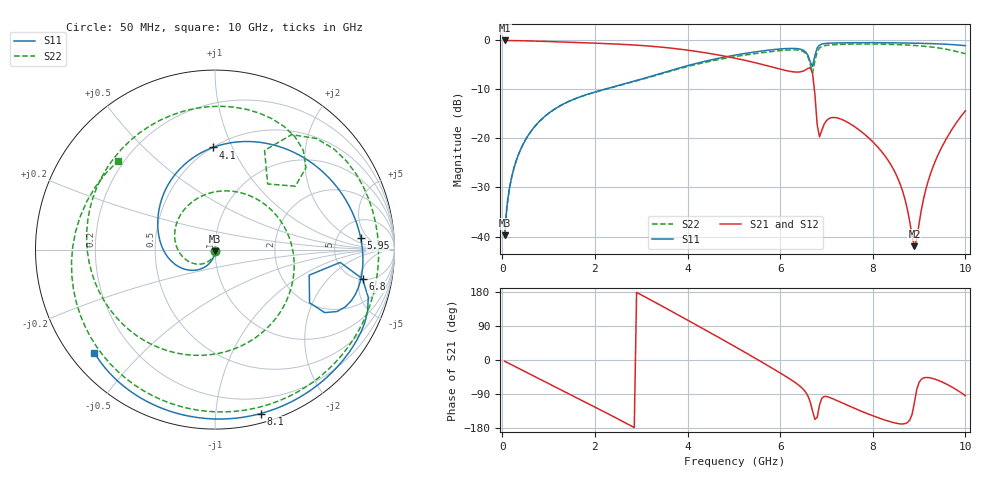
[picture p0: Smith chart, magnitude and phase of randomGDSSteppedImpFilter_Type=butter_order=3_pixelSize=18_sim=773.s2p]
! freq	dB(S11)	phase(S11)	dB(S12)	phase(S12)
!  dB(S21)	phase(S21)	dB(S22)	phase(S22)
!S-par simulation data
#  GHz  S  DB  R 50
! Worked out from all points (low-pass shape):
!   200 points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, 50 MHz to 10 GHz, reference 50 ohm
!   highest |S21| = -0.01 dB at 50 MHz (marker M1); lowest = -42.0 dB at 8.9 GHz (marker M2)
!   |S21| within 3 dB of the highest: start of sweep to 4.688 GHz
!   lowest |S11| = -39.8 dB at 50 MHz (marker M3), VSWR 1.02, Z = 49.9 - j1.02 ohm
!   |S11| at or under -10 dB: start of sweep to 2.199 GHz
!   |S22| runs from -39.8 to -0.7 dB; largest |S21 - S12| = 0
!   S11 on the Smith chart (normalised r, x): 50 MHz: 1.00, -0.02; 4.1 GHz: 0.50, +0.84; 5.95 GHz: 8.52, +3.24; 6.8 GHz: 5.11, -5.60; 8.1 GHz: 0.07, -1.31; 10 GHz: 0.07, -0.37
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0.05  -39.79 -92.4  -0.01 -3.2  -0.01 -3.2  -39.79 -93.5
0.2  -27.98 -100.4  -0.03 -12.6  -0.03 -12.6  -27.99 -105.0
0.5  -20.28 -115.9  -0.08 -31.2  -0.08 -31.2  -20.30 -127.6
1.15  -13.88 -147.5  -0.27 -71.5  -0.27 -71.5  -13.90 -176.9
1.75  -11.27 -173.7  -0.47 -108.5  -0.47 -108.5  -11.30 135.1
2.6  -8.97 153.6  -0.80 -162.1  -0.80 -162.1  -9.04 60.8
3.4  -6.78 122.4  -1.34 145.5  -1.34 145.5  -6.90 -12.4
4.1  -4.90 91.2  -2.11 98.6  -2.11 98.6  -5.09 -75.0
4.6  -3.78 67.5  -2.86 64.6  -2.86 64.6  -4.03 -119.2
5.05  -2.96 46.2  -3.67 33.6  -3.67 33.6  -3.26 -160.0
5.5  -2.29 25.2  -4.63 1.9  -4.63 1.9  -2.63 157.4
5.95  -1.78 4.5  -5.74 -30.5  -5.74 -30.5  -2.12 113.0
6.55  -2.35 -26.9  -6.01 -84.7  -6.01 -84.7  -2.61 48.4
6.7  -5.29 -15.2  -6.71 -135.0  -6.71 -135.0  -6.58 51.2
6.8  -1.53 -11.2  -17.22 -151.4  -17.22 -151.4  -2.27 56.3
7.3  -0.50 -44.2  -16.00 -111.2  -16.00 -111.2  -0.81 0.9
8.1  -0.46 -74.4  -21.67 -151.6  -21.67 -151.6  -0.75 -56.8
8.35  -0.48 -83.0  -24.74 -161.9  -24.74 -161.9  -0.79 -73.1
8.9  -0.56 -101.4  -41.97 -111.7  -41.97 -111.7  -1.03 -109.8
9.2  -0.63 -111.4  -28.57 -46.4  -28.57 -46.4  -1.27 -132.4
9.55  -0.76 -123.3  -20.70 -61.0  -20.70 -61.0  -1.73 -164.4
10  -1.07 -139.4  -14.36 -94.2  -14.36 -94.2  -2.71 137.3
